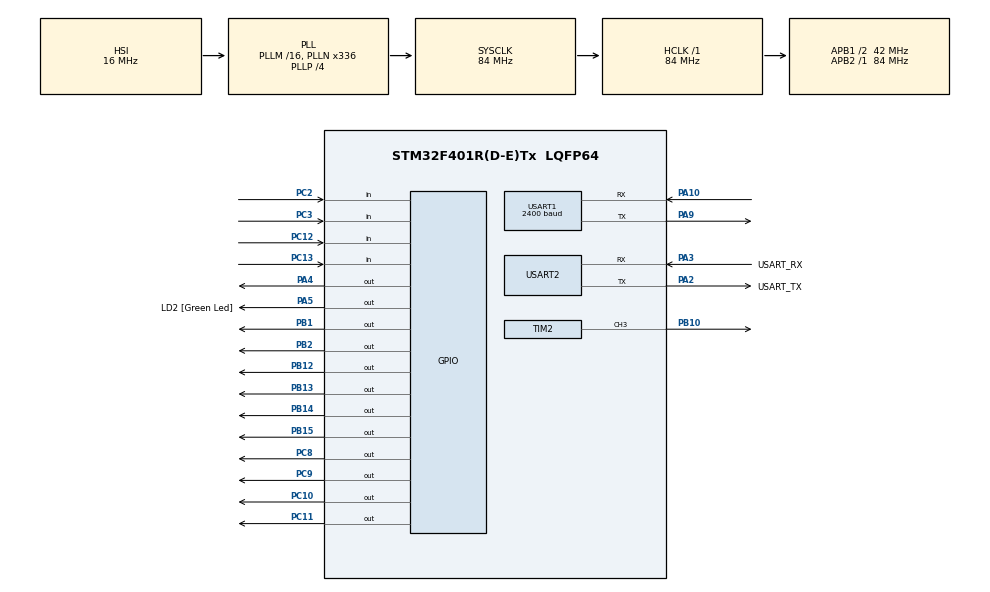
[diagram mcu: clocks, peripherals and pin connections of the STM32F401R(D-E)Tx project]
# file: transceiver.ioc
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Mcu.Family=STM32F4
Mcu.Name=STM32F401R(D-E)Tx
Mcu.Package=LQFP64
NVIC.PriorityGroup=NVIC_PRIORITYGROUP_1
NVIC.TIM1_UP_TIM10_IRQn=true\:1\:0\:true\:false\:true\:true\:true\:true
NVIC.TIM3_IRQn=true\:0\:0\:false\:false\:true\:true\:true\:true
NVIC.USART1_IRQn=true\:0\:0\:false\:false\:true\:true\:true\:true
PA10.Mode=Asynchronous
PA10.Signal=USART1_RX
PA13.GPIO_Label=TMS
PA13.Mode=Serial_Wire
PA13.Signal=SYS_JTMS-SWDIO
PA14.GPIO_Label=TCK
PA14.Mode=Serial_Wire
PA14.Signal=SYS_JTCK-SWCLK
PA2.GPIO_Label=USART_TX
PA2.GPIO_Mode=GPIO_MODE_AF_PP
PA2.GPIO_PuPd=GPIO_NOPULL
PA2.GPIO_Speed=GPIO_SPEED_FREQ_LOW
PA2.Mode=Asynchronous
PA2.Signal=USART2_TX
PA3.GPIO_Label=USART_RX
PA3.GPIO_Mode=GPIO_MODE_AF_PP
PA3.GPIO_PuPd=GPIO_NOPULL
PA3.GPIO_Speed=GPIO_SPEED_FREQ_LOW
PA3.Mode=Asynchronous
PA3.Signal=USART2_RX
PA4.Signal=GPIO_Output
PA5.GPIO_Label=LD2 [Green Led]
PA5.GPIO_Mode=GPIO_MODE_OUTPUT_PP
PA5.GPIO_PuPd=GPIO_NOPULL
PA5.GPIO_Speed=GPIO_SPEED_FREQ_LOW
PA5.Signal=GPIO_Output
PA9.Mode=Asynchronous
PA9.Signal=USART1_TX
PB1.Signal=GPIO_Output
PB10.Signal=S_TIM2_CH3
PB12.Signal=GPIO_Output
PB13.Signal=GPIO_Output
PB14.Signal=GPIO_Output
PB15.Signal=GPIO_Output
PB2.Signal=GPIO_Output
PB3.GPIO_Label=SWO
PB3.Signal=SYS_JTDO-SWO
PC10.Signal=GPIO_Output
PC11.Signal=GPIO_Output
PC12.Signal=GPIO_Input
PC13-ANTI_TAMP.Signal=GPIO_Input
PC14-OSC32_IN.Mode=LSE-External-Oscillator
PC14-OSC32_IN.Signal=RCC_OSC32_IN
PC15-OSC32_OUT.Mode=LSE-External-Oscillator
PC15-OSC32_OUT.Signal=RCC_OSC32_OUT
PC2.Signal=GPIO_Input
PC3.Signal=GPIO_Input
PC8.Signal=GPIO_Output
PC9.Signal=GPIO_Output
PH0\ -\ OSC_IN.Mode=HSE-External-Clock-Source
PH0\ -\ OSC_IN.Signal=RCC_OSC_IN
PH1\ -\ OSC_OUT.Mode=HSE-External-Clock-Source
PH1\ -\ OSC_OUT.Signal=RCC_OSC_OUT
ProjectManager.HeapSize=0x200
ProjectManager.StackSize=0x400
ProjectManager.TargetToolchain=STM32CubeIDE
RCC.48MHZClocksFreq_Value=48000000
RCC.AHBFreq_Value=84000000
RCC.APB1CLKDivider=RCC_HCLK_DIV2
RCC.APB1Freq_Value=42000000
RCC.APB1TimFreq_Value=84000000
RCC.APB2Freq_Value=84000000
RCC.APB2TimFreq_Value=84000000
RCC.CortexFreq_Value=84000000
RCC.HCLKFreq_Value=84000000
RCC.HSE_VALUE=8000000
RCC.HSI_VALUE=16000000
RCC.PLLN=336
RCC.PLLP=RCC_PLLP_DIV4
RCC.PLLQ=7
RCC.SYSCLKFreq_VALUE=84000000
RCC.SYSCLKSource=RCC_SYSCLKSOURCE_PLLCLK
RCC.VCOOutputFreq_Value=336000000
SH.S_TIM2_CH3.0=TIM2_CH3,PWM Generation3 CH3
TIM10.Period=99
TIM10.Prescaler=8399
TIM2.Channel-PWM\ Generation3\ CH3=TIM_CHANNEL_3
TIM2.Period=2210
TIM2.Pulse-PWM\ Generation3\ CH3=1105
TIM3.Period=35000
USART1.BaudRate=2400
USART1.Mode=MODE_RX
USART1.VirtualMode=VM_ASYNC
USART2.VirtualMode=VM_ASYNC
VP_TIM10_VS_ClockSourceINT.Mode=Enable_Timer
VP_TIM2_VS_ClockSourceINT.Mode=Internal
VP_TIM3_VS_ClockSourceINT.Mode=Internal
board=NUCLEO-F401RE

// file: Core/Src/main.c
/* USER CODE BEGIN Header */
/**
  ******************************************************************************
  * @file           : main.c
  * @brief          : Main program body
  ******************************************************************************
  * @attention
  *
  * Copyright (c) 2023 STMicroelectronics.
  * All rights reserved.
  *
  * This software is licensed under terms that can be found in the LICENSE file
  * in the root directory of this software component.
  * If no LICENSE file comes with this software, it is provided AS-IS.
  *
  ******************************************************************************
  */
/* USER CODE END Header */
#include "main.h"

/* USER CODE BEGIN Includes */
#include "PMDB16_LCD.h"
/* USER CODE END Includes */

/* USER CODE BEGIN PD */
#define PIN_C0 GPIOC,GPIO_PIN_11
#define PIN_C1 GPIOC,GPIO_PIN_10
#define PIN_C2 GPIOC,GPIO_PIN_9
#define PIN_C3 GPIOC,GPIO_PIN_8

#define PIN_R0 GPIOC,GPIO_PIN_3
#define PIN_R1 GPIOC,GPIO_PIN_2
#define PIN_R2 GPIOC,GPIO_PIN_13
#define PIN_R3 GPIOC,GPIO_PIN_12
/* USER CODE END PD */

TIM_HandleTypeDef htim2;
TIM_HandleTypeDef htim3;
TIM_HandleTypeDef htim10;

UART_HandleTypeDef huart1;
UART_HandleTypeDef huart2;

/* USER CODE BEGIN PV */
char map[16] = "FB73EA62D951C840";
int bitfinished = 0;
uint32_t keypress[16];
uint32_t ack[16];
int column_index = 0;
uint32_t debounce_time[16];
char Receive_Byte;
char string[32];
char stringUP[16];
char stringDOWN[16];
int index_ploting=0;
/* USER CODE END PV */

void SystemClock_Config(void);
static void MX_GPIO_Init(void);
static void MX_USART2_UART_Init(void);
static void MX_TIM2_Init(void);
static void MX_TIM3_Init(void);
static void MX_TIM10_Init(void);
static void MX_USART1_UART_Init(void);

/* USER CODE BEGIN 0 */
void Our_UART_SendByte(char Byte){
	HAL_TIM_Base_Start_IT(&htim3);
	//Send the start bit 0
	HAL_TIM_PWM_Start(&htim2,TIM_CHANNEL_3);
	bitfinished = 0;
	while(bitfinished == 0);
	//Start sending the 8 bits of the byte
	for(int index = 0; index < 8; index++){
		if ((Byte & (0x01 << index)) == 0){
			HAL_TIM_PWM_Start(&htim2,TIM_CHANNEL_3);
		}else{
			HAL_TIM_PWM_Stop(&htim2,TIM_CHANNEL_3);
		}
		bitfinished = 0;
		while(bitfinished == 0);
	}
	//Send the stop bit
	HAL_TIM_PWM_Stop(&htim2,TIM_CHANNEL_3);
	bitfinished = 0;
	while(bitfinished == 0);
	HAL_TIM_Base_Stop_IT(&htim3);
	bitfinished = 0;
}

void HAL_TIM_PeriodElapsedCallback(TIM_HandleTypeDef *htim) {
	if(htim == &htim3){
		bitfinished = 1;
	}
	if(htim == &htim10){
		  if(HAL_GPIO_ReadPin(PIN_R0)==GPIO_PIN_SET){
			  keypress[4*column_index]=0;
		  }else{
			  keypress[4*column_index]=1;
		  }

		  if(HAL_GPIO_ReadPin(PIN_R1)==GPIO_PIN_SET){
			  keypress[4*column_index+1]=0;
		  }else{
			  keypress[4*column_index+1]=1;
		  }

		  if(HAL_GPIO_ReadPin(PIN_R2)==GPIO_PIN_SET){
			  keypress[4*column_index+2]=0;
		  }else{
			  keypress[4*column_index+2]=1;
		  }

		  if(HAL_GPIO_ReadPin(PIN_R3)==GPIO_PIN_SET){
			  keypress[4*column_index+3]=0;
		  }else{
			  keypress[4*column_index+3]=1;
		  }
		  for(int i=0;i<4;i++){
			  if(keypress[4*column_index+i] == 1){
				  if(ack[4*column_index+i] == 0){
					  if(debounce_time[4*column_index+i] == 0){
					  //HAL_UART_Transmit_DMA(&huart2,(uint8_t *)&map[4*column_index+i],1);
					  Our_UART_SendByte(map[4*column_index+i]);
					  ack[4*column_index+i] = 1;
					  debounce_time[4*column_index+i] = 1;
					  }
					  else{
						  debounce_time[4*column_index+i] = 0;
					  }
				  }
			  }else{
				  ack[4*column_index+i] = 0;
			  }
		  }

		  column_index++;
		  if(column_index==4){
			  column_index=0;
		  }
		  HAL_GPIO_WritePin(PIN_C0,(column_index==0)?GPIO_PIN_SET:GPIO_PIN_RESET);
		  HAL_GPIO_WritePin(PIN_C1,(column_index==1)?GPIO_PIN_SET:GPIO_PIN_RESET);
		  HAL_GPIO_WritePin(PIN_C2,(column_index==2)?GPIO_PIN_SET:GPIO_PIN_RESET);
		  HAL_GPIO_WritePin(PIN_C3,(column_index==3)?GPIO_PIN_SET:GPIO_PIN_RESET);
	}
}

void PlotInLCD(){
	lcd_clear();
	for(int i=0;i<16;i++){
		stringUP[i]=string[i];
		stringDOWN[i]=string[i+16];
	}
	lcd_println(stringUP,0);
	lcd_println(stringDOWN,1);
}

void HAL_UART_RxCpltCallback(UART_HandleTypeDef *huart){
	HAL_UART_Receive_IT(&huart1,&Receive_Byte,1);
	//lcd_clear();
	//lcd_println(&Receive_Byte,0);
	string[index_ploting] = Receive_Byte;
	PlotInLCD();
	index_ploting++;
	if(index_ploting == 32){
		index_ploting=0;
		for(int i = 0; i < 32; i++) {
		    string[i] = '\0';
		}
	}
}
/* USER CODE END 0 */

int main(void)
{

  /* MCU Configuration--------------------------------------------------------*/

  /* Reset of all peripherals, Initializes the Flash interface and the Systick. */
  HAL_Init();

  /* Configure the system clock */
  SystemClock_Config();

  /* Initialize all configured peripherals */
  MX_GPIO_Init();
  MX_USART2_UART_Init();
  MX_TIM2_Init();
  MX_TIM3_Init();
  MX_TIM10_Init();
  MX_USART1_UART_Init();
  /* USER CODE BEGIN 2 */
  for(int i=0;i<16;i++){
	  keypress[i] = 0;
	  ack[i] = 0;
	  debounce_time[i] = 1;
  }
  HAL_GPIO_WritePin(PIN_C0,(column_index==0)?GPIO_PIN_SET:GPIO_PIN_RESET);
  HAL_GPIO_WritePin(PIN_C1,(column_index==1)?GPIO_PIN_SET:GPIO_PIN_RESET);
  HAL_GPIO_WritePin(PIN_C2,(column_index==2)?GPIO_PIN_SET:GPIO_PIN_RESET);
  HAL_GPIO_WritePin(PIN_C3,(column_index==3)?GPIO_PIN_SET:GPIO_PIN_RESET);
  // Initialize LCD
   lcd_initialize();
   lcd_backlight_ON();
   lcd_clear();

   HAL_UART_Receive_IT(&huart1,&Receive_Byte,1);
  if(HAL_TIM_Base_Start_IT(&htim10) != HAL_OK){
  	  Error_Handler();
  }
  /* USER CODE END 2 */

  /* Infinite loop */
  while (1)
  {

  }
}

void SystemClock_Config(void)
{
  RCC_OscInitTypeDef RCC_OscInitStruct = {0};
  RCC_ClkInitTypeDef RCC_ClkInitStruct = {0};

  /** Configure the main internal regulator output voltage
  */
  __HAL_RCC_PWR_CLK_ENABLE();
  __HAL_PWR_VOLTAGESCALING_CONFIG(PWR_REGULATOR_VOLTAGE_SCALE2);

  /** Initializes the RCC Oscillators according to the specified parameters
  * in the RCC_OscInitTypeDef structure.
  */
  RCC_OscInitStruct.OscillatorType = RCC_OSCILLATORTYPE_HSI;
  RCC_OscInitStruct.HSIState = RCC_HSI_ON;
  RCC_OscInitStruct.HSICalibrationValue = RCC_HSICALIBRATION_DEFAULT;
  RCC_OscInitStruct.PLL.PLLState = RCC_PLL_ON;
  RCC_OscInitStruct.PLL.PLLSource = RCC_PLLSOURCE_HSI;
  RCC_OscInitStruct.PLL.PLLM = 16;
  RCC_OscInitStruct.PLL.PLLN = 336;
  RCC_OscInitStruct.PLL.PLLP = RCC_PLLP_DIV4;
  RCC_OscInitStruct.PLL.PLLQ = 7;
  if (HAL_RCC_OscConfig(&RCC_OscInitStruct) != HAL_OK)
  {
    Error_Handler();
  }

  /** Initializes the CPU, AHB and APB buses clocks
  */
  RCC_ClkInitStruct.ClockType = RCC_CLOCKTYPE_HCLK|RCC_CLOCKTYPE_SYSCLK
                              |RCC_CLOCKTYPE_PCLK1|RCC_CLOCKTYPE_PCLK2;
  RCC_ClkInitStruct.SYSCLKSource = RCC_SYSCLKSOURCE_PLLCLK;
  RCC_ClkInitStruct.AHBCLKDivider = RCC_SYSCLK_DIV1;
  RCC_ClkInitStruct.APB1CLKDivider = RCC_HCLK_DIV2;
  RCC_ClkInitStruct.APB2CLKDivider = RCC_HCLK_DIV1;

  if (HAL_RCC_ClockConfig(&RCC_ClkInitStruct, FLASH_LATENCY_2) != HAL_OK)
  {
    Error_Handler();
  }
}

static void MX_TIM2_Init(void)
{

  TIM_ClockConfigTypeDef sClockSourceConfig = {0};
  TIM_MasterConfigTypeDef sMasterConfig = {0};
  TIM_OC_InitTypeDef sConfigOC = {0};

  htim2.Instance = TIM2;
  htim2.Init.Prescaler = 0;
  htim2.Init.CounterMode = TIM_COUNTERMODE_UP;
  htim2.Init.Period = 2210;
  htim2.Init.ClockDivision = TIM_CLOCKDIVISION_DIV1;
  htim2.Init.AutoReloadPreload = TIM_AUTORELOAD_PRELOAD_DISABLE;
  if (HAL_TIM_Base_Init(&htim2) != HAL_OK)
  {
    Error_Handler();
  }
  sClockSourceConfig.ClockSource = TIM_CLOCKSOURCE_INTERNAL;
  if (HAL_TIM_ConfigClockSource(&htim2, &sClockSourceConfig) != HAL_OK)
  {
    Error_Handler();
  }
  if (HAL_TIM_PWM_Init(&htim2) != HAL_OK)
  {
    Error_Handler();
  }
  sMasterConfig.MasterOutputTrigger = TIM_TRGO_RESET;
  sMasterConfig.MasterSlaveMode = TIM_MASTERSLAVEMODE_DISABLE;
  if (HAL_TIMEx_MasterConfigSynchronization(&htim2, &sMasterConfig) != HAL_OK)
  {
    Error_Handler();
  }
  sConfigOC.OCMode = TIM_OCMODE_PWM1;
  sConfigOC.Pulse = 1105;
  sConfigOC.OCPolarity = TIM_OCPOLARITY_HIGH;
  sConfigOC.OCFastMode = TIM_OCFAST_DISABLE;
  if (HAL_TIM_PWM_ConfigChannel(&htim2, &sConfigOC, TIM_CHANNEL_3) != HAL_OK)
  {
    Error_Handler();
  }
  HAL_TIM_MspPostInit(&htim2);

}

static void MX_TIM3_Init(void)
{

  TIM_ClockConfigTypeDef sClockSourceConfig = {0};
  TIM_MasterConfigTypeDef sMasterConfig = {0};

  htim3.Instance = TIM3;
  htim3.Init.Prescaler = 0;
  htim3.Init.CounterMode = TIM_COUNTERMODE_UP;
  htim3.Init.Period = 35000;
  htim3.Init.ClockDivision = TIM_CLOCKDIVISION_DIV1;
  htim3.Init.AutoReloadPreload = TIM_AUTORELOAD_PRELOAD_DISABLE;
  if (HAL_TIM_Base_Init(&htim3) != HAL_OK)
  {
    Error_Handler();
  }
  sClockSourceConfig.ClockSource = TIM_CLOCKSOURCE_INTERNAL;
  if (HAL_TIM_ConfigClockSource(&htim3, &sClockSourceConfig) != HAL_OK)
  {
    Error_Handler();
  }
  sMasterConfig.MasterOutputTrigger = TIM_TRGO_RESET;
  sMasterConfig.MasterSlaveMode = TIM_MASTERSLAVEMODE_DISABLE;
  if (HAL_TIMEx_MasterConfigSynchronization(&htim3, &sMasterConfig) != HAL_OK)
  {
    Error_Handler();
  }

}

static void MX_TIM10_Init(void)
{

  htim10.Instance = TIM10;
  htim10.Init.Prescaler = 8399;
  htim10.Init.CounterMode = TIM_COUNTERMODE_UP;
  htim10.Init.Period = 99;
  htim10.Init.ClockDivision = TIM_CLOCKDIVISION_DIV1;
  htim10.Init.AutoReloadPreload = TIM_AUTORELOAD_PRELOAD_DISABLE;
  if (HAL_TIM_Base_Init(&htim10) != HAL_OK)
  {
    Error_Handler();
  }

}

static void MX_USART1_UART_Init(void)
{

  huart1.Instance = USART1;
  huart1.Init.BaudRate = 2400;
  huart1.Init.WordLength = UART_WORDLENGTH_8B;
  huart1.Init.StopBits = UART_STOPBITS_1;
  huart1.Init.Parity = UART_PARITY_NONE;
  huart1.Init.Mode = UART_MODE_RX;
  huart1.Init.HwFlowCtl = UART_HWCONTROL_NONE;
  huart1.Init.OverSampling = UART_OVERSAMPLING_16;
  if (HAL_UART_Init(&huart1) != HAL_OK)
  {
    Error_Handler();
  }

}

static void MX_USART2_UART_Init(void)
{

  huart2.Instance = USART2;
  huart2.Init.BaudRate = 115200;
  huart2.Init.WordLength = UART_WORDLENGTH_8B;
  huart2.Init.StopBits = UART_STOPBITS_1;
  huart2.Init.Parity = UART_PARITY_NONE;
  huart2.Init.Mode = UART_MODE_TX_RX;
  huart2.Init.HwFlowCtl = UART_HWCONTROL_NONE;
  huart2.Init.OverSampling = UART_OVERSAMPLING_16;
  if (HAL_UART_Init(&huart2) != HAL_OK)
  {
    Error_Handler();
  }

}

static void MX_GPIO_Init(void)
{
  GPIO_InitTypeDef GPIO_InitStruct = {0};

  /* GPIO Ports Clock Enable */
  __HAL_RCC_GPIOC_CLK_ENABLE();
  __HAL_RCC_GPIOH_CLK_ENABLE();
  __HAL_RCC_GPIOA_CLK_ENABLE();
  __HAL_RCC_GPIOB_CLK_ENABLE();

  /*Configure GPIO pin Output Level */
  HAL_GPIO_WritePin(GPIOA, GPIO_PIN_4|LD2_Pin, GPIO_PIN_RESET);

  /*Configure GPIO pin Output Level */
  HAL_GPIO_WritePin(GPIOB, GPIO_PIN_1|GPIO_PIN_2|GPIO_PIN_12|GPIO_PIN_13
                          |GPIO_PIN_14|GPIO_PIN_15, GPIO_PIN_RESET);

  /*Configure GPIO pin Output Level */
  HAL_GPIO_WritePin(GPIOC, GPIO_PIN_8|GPIO_PIN_9|GPIO_PIN_10|GPIO_PIN_11, GPIO_PIN_RESET);

  /*Configure GPIO pins : PC13 PC2 PC3 PC12 */
  GPIO_InitStruct.Pin = GPIO_PIN_13|GPIO_PIN_2|GPIO_PIN_3|GPIO_PIN_12;
  GPIO_InitStruct.Mode = GPIO_MODE_INPUT;
  GPIO_InitStruct.Pull = GPIO_NOPULL;
  HAL_GPIO_Init(GPIOC, &GPIO_InitStruct);

  /*Configure GPIO pins : PA4 LD2_Pin */
  GPIO_InitStruct.Pin = GPIO_PIN_4|LD2_Pin;
  GPIO_InitStruct.Mode = GPIO_MODE_OUTPUT_PP;
  GPIO_InitStruct.Pull = GPIO_NOPULL;
  GPIO_InitStruct.Speed = GPIO_SPEED_FREQ_LOW;
  HAL_GPIO_Init(GPIOA, &GPIO_InitStruct);

  /*Configure GPIO pins : PB1 PB2 PB12 PB13
                           PB14 PB15 */
  GPIO_InitStruct.Pin = GPIO_PIN_1|GPIO_PIN_2|GPIO_PIN_12|GPIO_PIN_13
                          |GPIO_PIN_14|GPIO_PIN_15;
  GPIO_InitStruct.Mode = GPIO_MODE_OUTPUT_PP;
  GPIO_InitStruct.Pull = GPIO_NOPULL;
  GPIO_InitStruct.Speed = GPIO_SPEED_FREQ_LOW;
  HAL_GPIO_Init(GPIOB, &GPIO_InitStruct);

  /*Configure GPIO pins : PC8 PC9 PC10 PC11 */
  GPIO_InitStruct.Pin = GPIO_PIN_8|GPIO_PIN_9|GPIO_PIN_10|GPIO_PIN_11;
  GPIO_InitStruct.Mode = GPIO_MODE_OUTPUT_PP;
  GPIO_InitStruct.Pull = GPIO_NOPULL;
  GPIO_InitStruct.Speed = GPIO_SPEED_FREQ_LOW;
  HAL_GPIO_Init(GPIOC, &GPIO_InitStruct);

}

void Error_Handler(void)
{
  __disable_irq();
  while (1)
  {
  }
}
